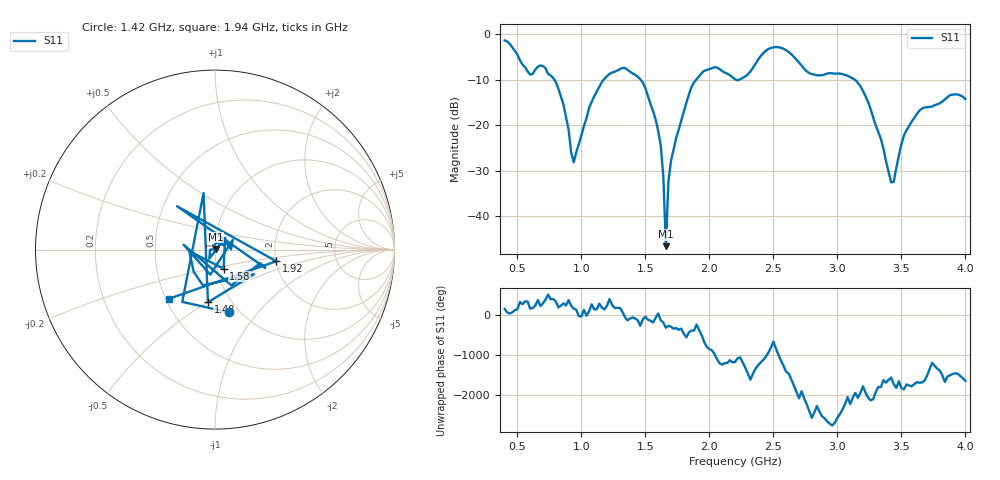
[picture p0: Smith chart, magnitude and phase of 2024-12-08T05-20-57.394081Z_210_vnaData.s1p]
!Created with skrf (http://scikit-rf.org).
# Hz S RI R 50.0
!freq ReS11 ImS11
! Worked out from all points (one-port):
!   181 points, 400 MHz to 4 GHz, reference 50 ohm
!   lowest |S11| = -46.6 dB at 1.66 GHz (marker M1), VSWR 1.01, Z = 50.3 + j0.363 ohm
!   |S11| at or under -10 dB: 789.5 MHz to 1.173 GHz (383.8 MHz wide, 39.1 % of centre); 1.464 GHz to 1.896 GHz (431.7 MHz wide, 25.7 % of centre); 3.138 GHz to end of sweep (the widest 3 of 4)
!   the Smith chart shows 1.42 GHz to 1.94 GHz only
!   S11 on the Smith chart (normalised r, x): 1.42 GHz: 0.90, -0.72; 1.48 GHz: 0.78, -0.50; 1.58 GHz: 1.07, -0.23; 1.92 GHz: 2.01, -0.30; 1.94 GHz: 0.52, -0.33
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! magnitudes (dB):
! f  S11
! 400 MHz  -1.3
! 600 MHz  -8.8
! 720 MHz  -7.5
! 860 MHz  -15.4
! 940 MHz  -28.1
! 1.1 GHz  -13.6
! 1.3 GHz  -7.7
! 1.42 GHz  -8.9
! 1.48 GHz  -10.6
! 1.58 GHz  -18.7
! 1.62 GHz  -24.4
! 1.64 GHz  -31.3
! 1.66 GHz  -46.6
! 1.68 GHz  -32.4
! 1.76 GHz  -21.0
! 1.86 GHz  -11.6
! 1.92 GHz  -9.2
! 1.94 GHz  -8.5
! 2.2 GHz  -9.9
! 2.48 GHz  -3.0
! 2.66 GHz  -4.9
! 2.8 GHz  -8.7
! 3.1 GHz  -9.4
! 3.24 GHz  -14.9
! 3.42 GHz  -32.5
! 3.56 GHz  -20.2
! 3.66 GHz  -16.3
! 4 GHz  -14.2
